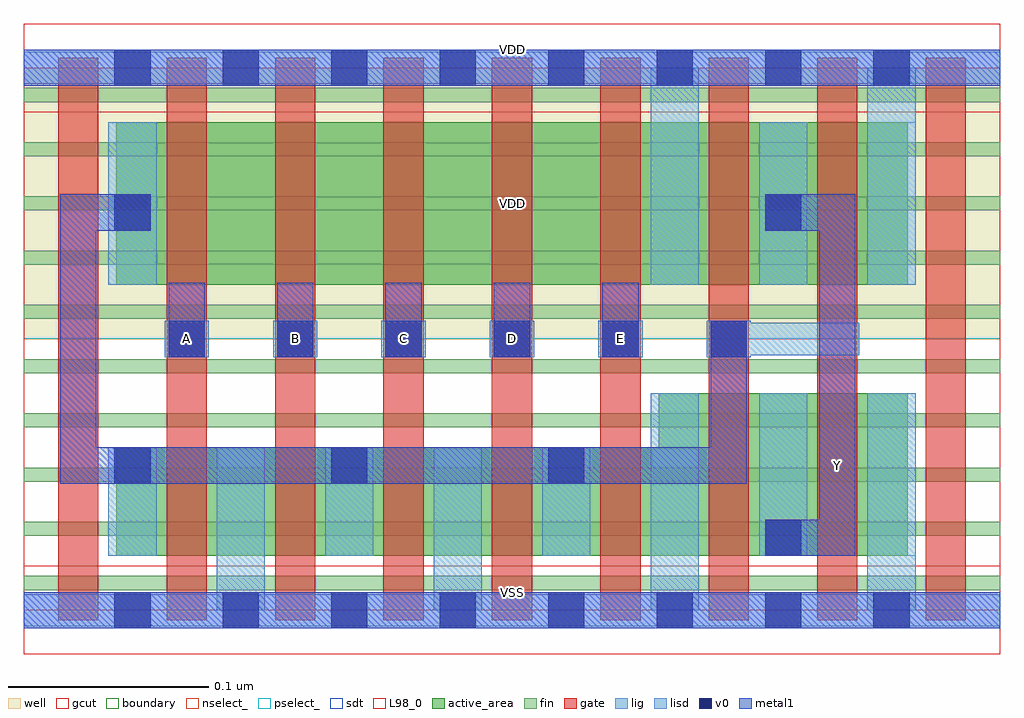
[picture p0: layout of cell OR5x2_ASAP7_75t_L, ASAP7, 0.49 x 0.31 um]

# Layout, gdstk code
import gdstk
lib = gdstk.Library(unit=1e-6, precision=2.5e-10)
def R(c, l, rs):  # rectangles x0, y0, x1, y1
    for r in rs: c.add(gdstk.rectangle(r[:2], r[2:], *l))
def A(c, l, x, y, w, h, nx, ny, dx, dy):  # array of equal rectangles
    R(c, l, [(x+i*dx, y+j*dy, x+i*dx+w, y+j*dy+h) for i in range(nx) for j in range(ny)])
def P(c, l, *ps):  # polygons
    for p in ps: c.add(gdstk.Polygon(p, *l))
well = (1, 0)
fin = (2, 0)
gate = (7, 0)
gcut = (10, 0)
active_area = (11, 0)
nselect_ = (12, 0)
pselect_ = (13, 0)
lig = (16, 0)
lisd = (17, 0)
v0 = (18, 0)
metal1 = (19, 0)
sdt = (88, 0)
L98_0 = (98, 0)
boundary = (100, 0)

or5x2_asap7_75t_l = lib.new_cell('OR5x2_ASAP7_75t_L')
R(or5x2_asap7_75t_l, well, [(0,0.135,0.486,0.27)])
A(or5x2_asap7_75t_l, fin, 0, 0.01, 0.486, 0.007, 1, 10, 0, 0.027)
A(or5x2_asap7_75t_l, gate, 0.017, -0.005, 0.02, 0.28, 9, 1, 0.054, 0)
R(or5x2_asap7_75t_l, gcut, [(0,-0.022,0.486,0.022), (0,0.248,0.486,0.292)])
R(or5x2_asap7_75t_l, active_area, [(0.046,0.162,0.44,0.243)])
P(or5x2_asap7_75t_l, active_area, [(0.316,0.081),(0.046,0.081),(0.046,0.027),(0.44,0.027),(0.44,0.108),(0.316,0.108)])
R(or5x2_asap7_75t_l, nselect_, [(0,0,0.486,0.135)])
R(or5x2_asap7_75t_l, pselect_, [(0,0.135,0.486,0.27)])
A(or5x2_asap7_75t_l, lig, 0.07, 0.126, 0.022, 0.018, 6, 1, 0.054, 0)
R(or5x2_asap7_75t_l, lig, [(0,-0.008,0.486,0.008), (0.34,0.127,0.416,0.143), (0,0.262,0.486,0.278)])
A(or5x2_asap7_75t_l, lisd, 0.042, 0.027, 0.024, 0.054, 3, 1, 0.108, 0)
R(or5x2_asap7_75t_l, lisd, [(0.096,0,0.12,0.081), (0.096,0,0.12,0.081), (0.204,0,0.228,0.081), (0.204,0,0.228,0.081), (0.312,0,0.336,0.108), (0.312,0,0.336,0.108), (0.42,0,0.444,0.108), (0.42,0,0.444,0.108), (0.366,0.027,0.39,0.108), (0.042,0.162,0.066,0.243), (0.312,0.162,0.336,0.27), (0.312,0.162,0.336,0.27), (0.366,0.162,0.39,0.243), (0.42,0.162,0.444,0.27), (0.42,0.162,0.444,0.27)])
A(or5x2_asap7_75t_l, v0, 0.045, -0.009, 0.018, 0.018, 8, 2, 0.054, 0.27)
A(or5x2_asap7_75t_l, v0, 0.045, 0.063, 0.018, 0.018, 3, 1, 0.108, 0)
A(or5x2_asap7_75t_l, v0, 0.072, 0.126, 0.018, 0.018, 6, 1, 0.054, 0)
R(or5x2_asap7_75t_l, v0, [(0.369,0.027,0.387,0.045), (0.045,0.189,0.063,0.207), (0.369,0.189,0.387,0.207)])
A(or5x2_asap7_75t_l, metal1, 0.045, 0.063, 0.018, 0.018, 3, 1, 0.108, 0)
A(or5x2_asap7_75t_l, metal1, 0.072, 0.126, 0.018, 0.018, 6, 1, 0.054, 0)
A(or5x2_asap7_75t_l, metal1, 0.072, 0.126, 0.018, 0.037, 5, 1, 0.054, 0)
R(or5x2_asap7_75t_l, metal1, [(0,-0.009,0.486,0.009), (0.369,0.027,0.387,0.045), (0.045,0.189,0.063,0.207), (0.369,0.189,0.387,0.207), (0,0.261,0.486,0.279)])
P(or5x2_asap7_75t_l, metal1, [(0.342,0.144),(0.342,0.081),(0.036,0.081),(0.036,0.189),(0.063,0.189),(0.063,0.207),(0.018,0.207),(0.018,0.063),(0.36,0.063),(0.36,0.144)],
  [(0.369,0.207),(0.369,0.189),(0.396,0.189),(0.396,0.045),(0.369,0.045),(0.369,0.027),(0.414,0.027),(0.414,0.207)])
A(or5x2_asap7_75t_l, sdt, 0.096, 0.027, 0.024, 0.054, 3, 1, 0.054, 0)
A(or5x2_asap7_75t_l, sdt, 0.312, 0.027, 0.024, 0.081, 3, 2, 0.054, 0.135)
R(or5x2_asap7_75t_l, sdt, [(0.042,0.027,0.066,0.081), (0.096,0.027,0.12,0.081), (0.204,0.027,0.228,0.081), (0.258,0.027,0.282,0.081), (0.312,0.027,0.336,0.108), (0.42,0.027,0.444,0.108), (0.042,0.162,0.066,0.243), (0.312,0.162,0.336,0.243), (0.42,0.162,0.444,0.243)])
R(or5x2_asap7_75t_l, L98_0, [(0,0,0.486,0.27)])
R(or5x2_asap7_75t_l, boundary, [(0,0,0.486,0.27)])
or5x2_asap7_75t_l.add(gdstk.Label('VDD', (0.243,0.2025), layer=1, texttype=251))
or5x2_asap7_75t_l.add(gdstk.Label('VSS', (0.243,-0.0675), layer=3, texttype=251))
or5x2_asap7_75t_l.add(gdstk.Label('VSS', (0.243,0.009), layer=19, texttype=251))
or5x2_asap7_75t_l.add(gdstk.Label('VDD', (0.243,0.279), layer=19, texttype=251))
or5x2_asap7_75t_l.add(gdstk.Label('A', (0.081,0.135), layer=19, texttype=251))
or5x2_asap7_75t_l.add(gdstk.Label('B', (0.135,0.135), layer=19, texttype=251))
or5x2_asap7_75t_l.add(gdstk.Label('C', (0.189,0.135), layer=19, texttype=251))
or5x2_asap7_75t_l.add(gdstk.Label('D', (0.243,0.135), layer=19, texttype=251))
or5x2_asap7_75t_l.add(gdstk.Label('E', (0.297,0.135), layer=19, texttype=251))
or5x2_asap7_75t_l.add(gdstk.Label('Y', (0.405,0.072), layer=19, texttype=251))

lib.write_gds('OR5x2_ASAP7_75t_L.gds')
